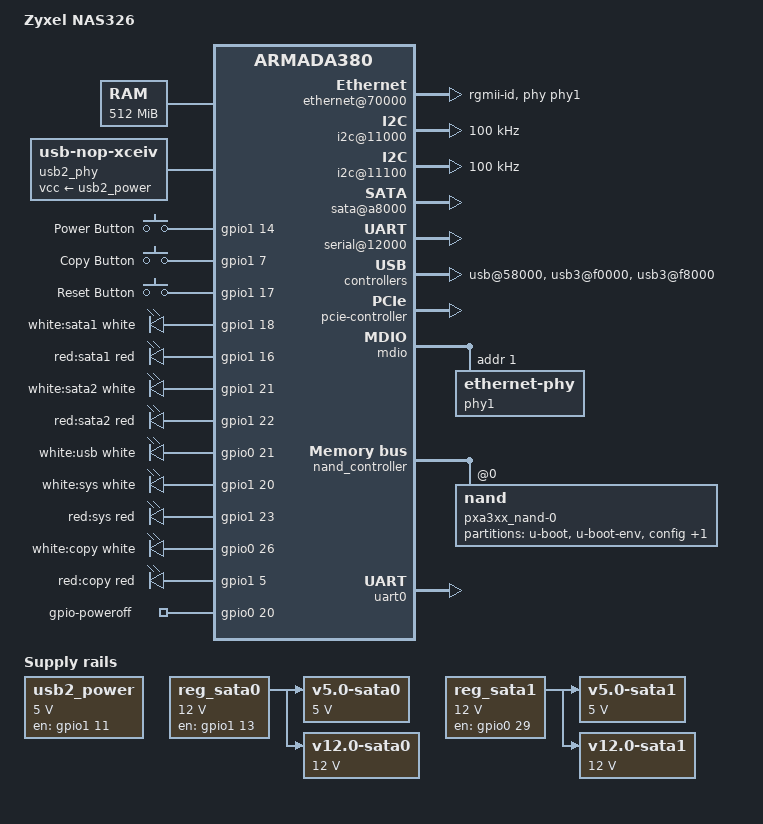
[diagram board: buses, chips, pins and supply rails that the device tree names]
// SPDX-License-Identifier: (GPL-2.0 OR MIT)
/*
 * Device Tree file for Zyxel NAS326 board
 *
 *  Copyright (C) 2017-2026 Tony Dinh <mibodhi@gmail.com>
 *                          Taras Ivaniukovich <rr-m@rr-m.org>
 *                          Henrik Andersson <henrik.4e@gmail.com>
 *                          Davids Paskevics <davids.paskevics@gmail.com>
 */

/dts-v1/;
#include <dt-bindings/input/input.h>
#include <dt-bindings/gpio/gpio.h>
#include <dt-bindings/leds/common.h>
#include "armada-380.dtsi"

/ {
	model = "Zyxel NAS326";
	compatible = "zyxel,nas326", "marvell,armada380";

	aliases {
		ethernet0 = &eth0;
		serial0 = &uart0;

		led-boot = &led_white_sys;
		led-failsafe = &led_red_sys;
		led-running = &led_white_sys;
		led-upgrade = &led_red_sys;
	};

	chosen {
		bootargs = "console=ttyS0,115200";
		stdout-path = "serial0:115200n8";
	};

	memory {
		device_type = "memory";
		reg = <0x00000000 0x20000000>; /* 512 MB */
	};

	soc {
		ranges = <MBUS_ID(0xf0, 0x01) 0 0xf1000000 0x100000
			  MBUS_ID(0x01, 0x1d) 0 0xfff00000 0x100000
			  MBUS_ID(0x09, 0x19) 0 0xf1100000 0x10000	/* CESA0: PHYS=0xf1100000 size 64K */
			  MBUS_ID(0x09, 0x15) 0 0xf1110000 0x10000>;	/* CESA1: PHYS=0xf1110000 size 64K */

		internal-regs {
			ethernet@70000 {
				pinctrl-0 = <&ge0_rgmii_pins>;
				pinctrl-names = "default";
				status = "okay";
				phy = <&phy1>;
				phy-mode = "rgmii-id";
			};

			i2c@11000 {
				status = "okay";
				clock-frequency = <100000>;
			};

			i2c@11100 {
				status = "okay";
				clock-frequency = <100000>;
			};

			sata@a8000 {
				status = "okay";
			};


			serial@12000 {
				status = "okay";
			};

			usb@58000 {
				status = "okay";
			};

			usb3@f0000 {
				status = "okay";
			};

			usb3@f8000 {
				status = "okay";
			};

			crypto@9D000 {
				status = "okay";
			};

			pinctrl@18000 {
				pinctrl-names = "default";

				pmx_power_button: pmx_power-button {
					marvell,pins = "mpp46";
					marvell,function = "gpio";
				};

				pmx_copy_button: pmx_copy-button {
					marvell,pins = "mpp39";
					marvell,function = "gpio";
				};

				pmx_reset_button: pmx_reset-button {
					marvell,pins = "mpp49";
					marvell,function = "gpio";
				};

				pmx_sata1_white_led: pmx_sata1_white_led {
					marvell,pins = "mpp50";
					marvell,function = "gpio";
				};

				pmx_sata1_red_led: pmx_sata1_red_led {
					marvell,pins = "mpp48";
					marvell,function = "gpio";
				};

				pmx_sata2_white_led: pmx_sata2_white_led {
					marvell,pins = "mpp53";
					marvell,function = "gpio";
				};

				pmx_sata2_red_led: pmx_sata2_red_led {
					marvell,pins = "mpp54";
					marvell,function = "gpio";
				};

				pmx_sys_white_led: pmx_sys_white_led {
					marvell,pins = "mpp52";
					marvell,function = "gpio";
				};

				pmx_sys_red_led: pmx_sys_red_led {
					marvell,pins = "mpp55";
					marvell,function = "gpio";
				};

				pmx_usb_white_led: pmx_usb_white_led {
					marvell,pins = "mpp21";
					marvell,function = "gpio";
				};

				pmx_copy_white_led: pmx_copy_white_led {
					marvell,pins = "mpp26";
					marvell,function = "gpio";
				};

				pmx_copy_red_led: pmx_copy_red_led {
					marvell,pins = "mpp37";
					marvell,function = "gpio";
				};

				/*
				 * Buzzer needs to be switched at around 1kHz so is
				 * not compatible with the gpio-beeper driver.
				 */
				pmx_buzzer: pmx_buzzer {
					marvell,pins = "mpp19";
					marvell,function = "gpio";
				};

				pmx_pwr_off: pmx-pwr-off {
					marvell,pins = "mpp20";
					marvell,function = "gpio";
				};
			};

		};

		pcie-controller {
			status = "okay";
			/*
			 * The two PCIe units are accessible through
			 * standard PCIe slots on the board.
			 */
			pcie@1,0 {
				/* Port 0, Lane 0 */
				status = "okay";
			};
			pcie@2,0 {
				/* Port 1, Lane 0 */
				status = "okay";
			};
		};
	};

	usb2_phy {
		compatible = "usb-nop-xceiv";
		vcc-supply = <&usb2_power>;
	};

	gpio-keys {
		compatible = "gpio-keys";
		#address-cells = <1>;
		#size-cells = <0>;
		pinctrl-0 = <&pmx_power_button &pmx_copy_button &pmx_reset_button>;
		pinctrl-names = "default";

		button@1 {
			label = "Power Button";
			linux,code = <KEY_POWER>;
			gpios = <&gpio1 14 GPIO_ACTIVE_HIGH>;
		};

		button@2 {
			label = "Copy Button";
			linux,code = <KEY_COPY>;
			gpios = <&gpio1 7 GPIO_ACTIVE_HIGH>;
		};

		button@3 {
			label = "Reset Button";
			linux,code = <KEY_RESTART>;
			gpios = <&gpio1 17 GPIO_ACTIVE_HIGH>;
		};
	};

	gpio-leds {
		compatible = "gpio-leds";
		pinctrl-0 = <&pmx_sata1_white_led
				&pmx_sata1_red_led
				&pmx_sata2_white_led
				&pmx_sata2_red_led
				&pmx_sys_white_led
				&pmx_sys_red_led
				&pmx_usb_white_led>;

		pinctrl-names = "default";

		white-sata1 {
			label = "white:sata1";
			function = LED_FUNCTION_DISK;
			color = <LED_COLOR_ID_WHITE>;
			gpios = <&gpio1 18 GPIO_ACTIVE_HIGH>;
			linux,default-trigger = "ata1";
			function-enumerator = <1>;
		};

		red-sata1 {
			label = "red:sata1";
			color = <LED_COLOR_ID_RED>;
			gpios = <&gpio1 16 GPIO_ACTIVE_HIGH>;
		};

		white-sata2 {
			label = "white:sata2";
			function = LED_FUNCTION_DISK;
			color = <LED_COLOR_ID_WHITE>;
			gpios = <&gpio1 21 GPIO_ACTIVE_HIGH>;
			linux,default-trigger = "ata2";
			function-enumerator = <2>;
		};

		red-sata2 {
			label = "red:sata2";
			color = <LED_COLOR_ID_RED>;
			gpios = <&gpio1 22 GPIO_ACTIVE_HIGH>;
		};

		white-usb {
			label = "white:usb";
			color = <LED_COLOR_ID_WHITE>;
			gpios = <&gpio0 21 GPIO_ACTIVE_HIGH>;
			linux,default-trigger = "usb-host";
		};

		led_white_sys: white-sys {
			label = "white:sys";
			color = <LED_COLOR_ID_WHITE>;
			gpios = <&gpio1 20 GPIO_ACTIVE_HIGH>;
			linux,default-trigger = "default-on";
		};

		led_red_sys: red-sys {
			label = "red:sys";
			color = <LED_COLOR_ID_RED>;
			gpios = <&gpio1 23 GPIO_ACTIVE_HIGH>;
			panic-indicator;
		};

		white-copy {
			label = "white:copy";
			color = <LED_COLOR_ID_WHITE>;
			gpios = <&gpio0 26 GPIO_ACTIVE_HIGH>;
		};

		red-copy {
			label = "red:copy";
			color = <LED_COLOR_ID_RED>;
			gpios = <&gpio1 5 GPIO_ACTIVE_HIGH>;
		};
	};

	regulators {
		compatible = "simple-bus";
		#address-cells = <1>;
		#size-cells = <0>;

		usb2_power: regulator@1 {
			compatible = "regulator-fixed";
			reg = <1>;
			regulator-name = "USB2 Power";
			regulator-min-microvolt = <5000000>;
			regulator-max-microvolt = <5000000>;
			enable-active-high;
			regulator-always-on;
			regulator-boot-on;
			gpio = <&gpio1 11 GPIO_ACTIVE_HIGH>;
		};

		reg_sata0: regulator@2 {
			compatible = "regulator-fixed";
			regulator-name = "pwr_en_sata0";
			regulator-min-microvolt = <12000000>;
			regulator-max-microvolt = <12000000>;
			enable-active-high;
			regulator-always-on;
			regulator-boot-on;
			gpio = <&gpio1 13 GPIO_ACTIVE_HIGH>;
		};

		v5-sata0 {
			compatible = "regulator-fixed";
			regulator-name = "v5.0-sata0";
			regulator-min-microvolt = <5000000>;
			regulator-max-microvolt = <5000000>;
			vin-supply = <&reg_sata0>;
		};

		v12-sata0 {
			compatible = "regulator-fixed";
			regulator-name = "v12.0-sata0";
			regulator-min-microvolt = <12000000>;
			regulator-max-microvolt = <12000000>;
			vin-supply = <&reg_sata0>;
		};

		reg_sata1: regulator@3 {
			regulator-name = "pwr_en_sata1";
			compatible = "regulator-fixed";
			regulator-min-microvolt = <12000000>;
			regulator-max-microvolt = <12000000>;
			enable-active-high;
			regulator-always-on;
			regulator-boot-on;
			gpio = <&gpio0 29 GPIO_ACTIVE_HIGH>;
		};

		v5-sata1 {
			compatible = "regulator-fixed";
			regulator-name = "v5.0-sata1";
			regulator-min-microvolt = <5000000>;
			regulator-max-microvolt = <5000000>;
			vin-supply = <&reg_sata1>;
		};

		v12-sata1 {
			compatible = "regulator-fixed";
			regulator-name = "v12.0-sata1";
			regulator-min-microvolt = <12000000>;
			regulator-max-microvolt = <12000000>;
			vin-supply = <&reg_sata1>;
		};
	};

	gpio-poweroff {
		compatible = "gpio-poweroff";
		pinctrl-0 = <&pmx_pwr_off>;
		pinctrl-names = "default";
		gpios = <&gpio0 20  GPIO_ACTIVE_HIGH>;
		timeout-ms = <10000>;
	};
};

&mdio {
	pinctrl-0 = <&mdio_pins>;
	pinctrl-names = "default";

	phy1: ethernet-phy@1 {
		marvell,reg-init = <0x1 0x16 0x0 0x3>,
		<0x1 0x10 0x0 0x1817>,
		<0x1 0x11 0x0 0x442a>,
		<0x1 0x16 0x0 0x0>,
		<0x1 0x0 0x0 0x1140>,
		<0x1 0x4 0x0 0x1e1>,
		<0x1 0x10 0x0 0x3860>,
		<0x1 0x0 0x0 0x9140>;
		reg = <1>;
	};

};

&nand_controller {
	status = "okay";

	nand@0 {
		status = "okay";
		reg = <0>;
		label = "pxa3xx_nand-0";
		nand-rb = <0>;
		marvell,nand-keep-config;
		nand-on-flash-bbt;
		nand-ecc-strength = <4>;
		nand-ecc-step-size = <512>;

		partitions {
			compatible = "fixed-partitions";
			#address-cells = <1>;
			#size-cells = <1>;

			partition@0 {
				label = "u-boot";
				reg = <0x00000000 0x00200000>;	/* 2 MB */
				read-only;
			};

			partition@200000 {
				label = "u-boot-env";
				reg = <0x00200000 0x00200000>;	/* 2 MB */
				read-only;
			};

			partition@400000 {
				label = "config";
				reg = <0x00400000 0x00200000>;	/* 2 MB */
				read-only;
			};

			partition@600000 {
				label = "ubi";
				reg = <0x00600000 0x00FA00000>;	/* 250 MB, merger of where all stock system partitions used to be */
			};
		};
	};
};

&uart0 {
	status = "okay";
};
